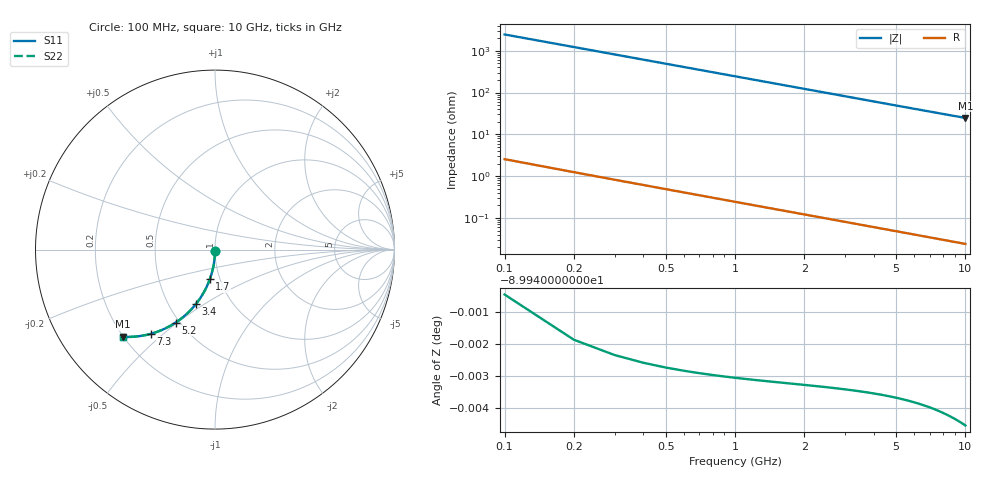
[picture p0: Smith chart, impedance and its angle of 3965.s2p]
# Hz S RI R 50.00
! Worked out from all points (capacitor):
!   100 points, 100 MHz to 10 GHz, reference 50 ohm
!   read as one part in shunt: C = 648 fF near 100 MHz
!   lowest |Z| = 24.8 ohm at 10 GHz (marker M1)
!   S11 on the Smith chart (normalised r, x): 100 MHz: 1.00, -0.02; 1.7 GHz: 0.89, -0.31; 3.4 GHz: 0.68, -0.46; 5.2 GHz: 0.48, -0.49; 7.3 GHz: 0.32, -0.45; 10 GHz: 0.20, -0.39
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1e8  -9.19e-05 -0.01  0.9999 -0.0103  0.9999 -0.0103  -9.19e-05 -0.01
2e8  -0.000412 -0.0201  0.9995 -0.0206  0.9995 -0.0206  -0.000412 -0.0201
3e8  -0.000939 -0.0301  0.999 -0.0309  0.999 -0.0309  -0.000939 -0.0301
4e8  -0.00167 -0.0401  0.9983 -0.0411  0.9983 -0.0411  -0.00167 -0.0401
5e8  -0.00261 -0.0501  0.9973 -0.0514  0.9973 -0.0514  -0.00261 -0.0501
6e8  -0.00375 -0.0601  0.9962 -0.0616  0.9962 -0.0616  -0.00375 -0.0601
8e8  -0.00664 -0.0798  0.9933 -0.0819  0.9933 -0.0819  -0.00664 -0.0798
1.1e9  -0.0125 -0.1092  0.9875 -0.112  0.9875 -0.112  -0.0125 -0.1092
1.4e9  -0.02 -0.1379  0.9799 -0.1415  0.9799 -0.1415  -0.02 -0.1379
1.7e9  -0.0292 -0.1658  0.9707 -0.1702  0.9707 -0.1702  -0.0292 -0.1658
1.8e9  -0.0326 -0.175  0.9673 -0.1796  0.9673 -0.1796  -0.0326 -0.175
2.1e9  -0.0439 -0.2018  0.956 -0.2072  0.956 -0.2072  -0.0439 -0.2018
2.5e9  -0.0611 -0.2359  0.9388 -0.2423  0.9388 -0.2423  -0.0611 -0.2359
2.9e9  -0.0805 -0.2679  0.9194 -0.2754  0.9194 -0.2754  -0.0805 -0.2679
3.4e9  -0.1075 -0.3049  0.8924 -0.3137  0.8924 -0.3137  -0.1075 -0.3049
4.2e9  -0.1553 -0.3563  0.8446 -0.3672  0.8446 -0.3672  -0.1553 -0.3563
5.1e9  -0.2134 -0.4026  0.7864 -0.416  0.7864 -0.416  -0.2134 -0.4026
5.2e9  -0.22 -0.407  0.7798 -0.4206  0.7798 -0.4206  -0.22 -0.407
6.7e9  -0.3192 -0.4568  0.6806 -0.4746  0.6806 -0.4746  -0.3192 -0.4568
7.3e9  -0.3577 -0.4692  0.6421 -0.4886  0.6421 -0.4886  -0.3577 -0.4692
8.4e9  -0.4246 -0.4826  0.5751 -0.505  0.5751 -0.505  -0.4246 -0.4826
1e10  -0.5115 -0.4859  0.4881 -0.5128  0.4881 -0.5128  -0.5115 -0.4859
